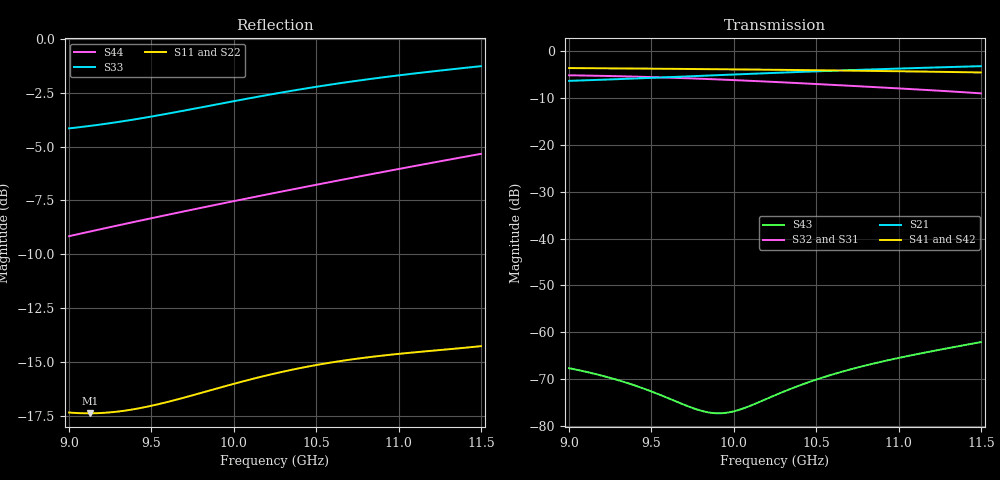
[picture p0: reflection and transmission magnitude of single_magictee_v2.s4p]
! Touchstone file exported from HFSS 2025.2.4
!  File:  C:/Users/chaoy/Documents/single_magictee_v2_stageA/g2_5p80mm_lt_7p50mm/single_magictee_v2.aedt
!  Generated:  03:06:46 PM Sep 19, 2026
!  Design:  SingleMagicT_v2
!  Project:  single_magictee_v2
! Variables:
!  f_adapt = 10.2GHz
!  ridge_g1 = 7.672mm
!  ridge_g2 = 5.8mm
!  ridge_l1 = 9.872mm
!  ridge_l2 = 8.857mm
!  ridge_w = 4.572mm
!  terminal_ridge_len = 7.5mm
!  wg_a = 22.86mm
!  wg_b = 10.16mm
!Data is not renormalized
# GHz S MA
! Terminal data exported
! Port[1] = P1_CollinearMinusX
! Port[2] = P2_CollinearPlusX
! Port[3] = P3_HArm_Ridged
! Port[4] = P4_EArm
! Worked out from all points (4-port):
!   101 points, 9 GHz to 11.5 GHz, reference per port
!   strongest paths, dB at 9 GHz, 9.625 GHz, 10.25 GHz, 10.88 GHz, 11.5 GHz:
!     S41: -3.6, -3.7, -3.9, -4.2, -4.5
!     S42: -3.6, -3.7, -3.9, -4.2, -4.5
!     S21: -6.3, -5.5, -4.6, -3.8, -3.2
!     S32: -5.1, -5.6, -6.5, -7.7, -9.0
!     S31: -5.1, -5.6, -6.5, -7.7, -9.0
!     S43: -67.7, -74.4, -73.4, -66.5, -62.1
!   lowest |S11| = -17.4 dB at 9.125 GHz (marker M1), VSWR 1.31
!   |S11| at or under -10 dB: start of sweep to end of sweep
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9  0.1357 -166.2  0.484 -162.3  0.5549 99.3  0.6629 45.1
   0.484 -162.3  0.1366 -166.4  0.5549 99.2  0.6627 -135.0
   0.5549 99.3  0.5549 99.2  0.6199 -178.3  0.0004136 -44.1
   0.6629 45.1  0.6627 -135.0  0.0004136 -44.1  0.3483 -109.3
9.125  0.1351 -176.3  0.4924 -176.2  0.5503 83.2  0.6606 30.6
       0.4924 -176.2  0.136 -176.5  0.5503 83.2  0.6604 -149.5
       0.5503 83.2  0.5503 83.2  0.6279 162.6  0.0003709 -61.1
       0.6606 30.6  0.6604 -149.5  0.0003709 -61.1  0.3569 -122.8
9.7  0.147 136.3  0.5384 121.5  0.5173 10.6  0.6488 -33.9
     0.5384 121.5  0.1473 136.0  0.5173 10.6  0.6487 146.1
     0.5173 10.6  0.5173 10.6  0.6818 76.6  0.0001681 -116.2
     0.6488 -33.9  0.6487 146.1  0.0001681 -116.2  0.3978 176.1
10.3  0.1688 80.7  0.5935 57.8  0.4661 -62.7  0.634 -98.3
      0.5935 57.8  0.1687 80.5  0.4662 -62.7  0.634 81.6
      0.4661 -62.7  0.4662 -62.7  0.7519 -8.2  0.0002314 -114.4
      0.634 -98.3  0.634 81.6  0.0002314 -114.4  0.4429 113.9
10.925  0.1843 20.1  0.6484 -7.6  0.4085 -136.8  0.6155 -163.6
        0.6484 -7.6  0.184 19.8  0.4088 -136.8  0.6153 16.3
        0.4085 -136.8  0.4088 -136.8  0.8161 -92.0  0.000498 179.4
        0.6155 -163.6  0.6153 16.3  0.000498 179.4  0.4925 50.3
11.2  0.1887 -6.2  0.6708 -36.1  0.3835 -169.4  0.6061 168.0
      0.6708 -36.1  0.1886 -6.7  0.3839 -169.3  0.6059 -12.1
      0.3835 -169.4  0.3839 -169.3  0.84 -128.9  0.0006267 146.2
      0.6061 168.0  0.6059 -12.1  0.0006267 146.2  0.5153 22.5
11.5  0.1935 -34.4  0.6945 -67.0  0.3552 154.6  0.595 137.2
      0.6945 -67.0  0.1936 -35.0  0.3559 154.7  0.5945 -42.9
      0.3552 154.6  0.3559 154.7  0.8644 -170.6  0.0007861 109.6
      0.595 137.2  0.5945 -42.9  0.0007861 109.6  0.5408 -7.8
